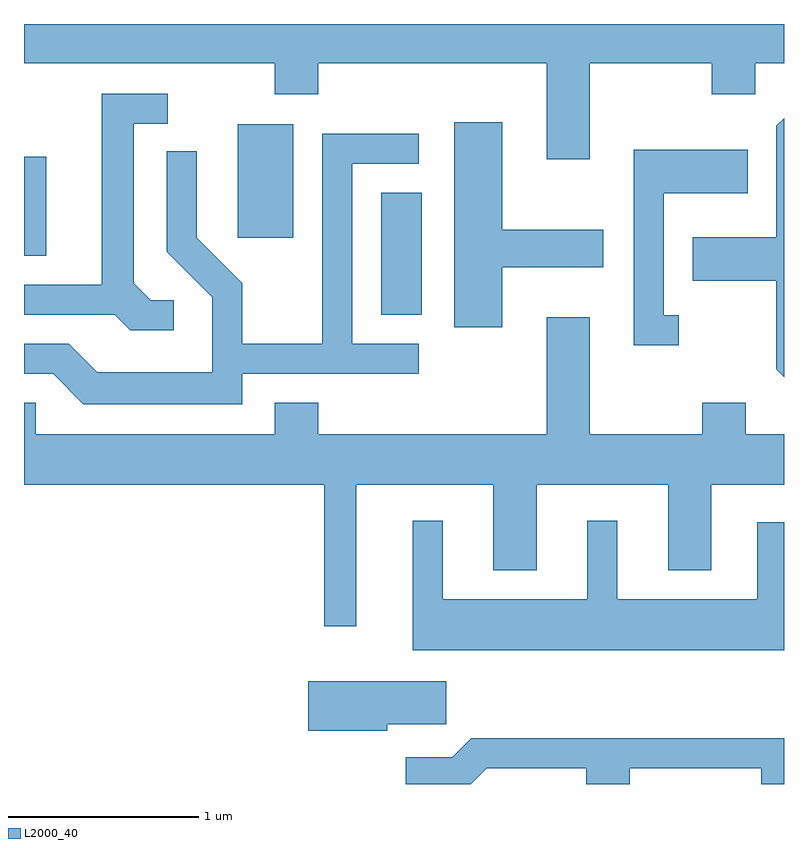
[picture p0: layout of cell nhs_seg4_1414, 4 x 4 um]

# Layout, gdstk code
import gdstk
lib = gdstk.Library(unit=1e-6, precision=1e-09)
def R(c, l, rs):  # rectangles x0, y0, x1, y1
    for r in rs: c.add(gdstk.rectangle(r[:2], r[2:], *l))
def P(c, l, *ps):  # polygons
    for p in ps: c.add(gdstk.Polygon(p, *l))
L2000_40 = (2000, 40)

nhs_seg4_1414 = lib.new_cell('nhs_seg4_1414')
R(nhs_seg4_1414, L2000_40, [(227.491,1364.451,227.704,1365.094), (225.611,1364.761,225.729,1365.284), (226.736,1364.856,227.029,1365.454)])
P(nhs_seg4_1414, L2000_40, [(228.589,1365.776),(229.231,1365.776),(229.231,1365.611),(229.459,1365.611),(229.459,1365.776),(229.611,1365.776),(229.611,1365.982),(225.611,1365.982),(225.611,1365.776),(226.931,1365.776),(226.931,1365.611),(227.159,1365.611),(227.159,1365.776),(228.361,1365.776),(228.361,1365.271),(228.589,1365.271)],
  [(226.398,1364.529),(226.277,1364.529),(226.189,1364.617),(226.189,1365.456),(226.368,1365.456),(226.368,1365.614),(226.021,1365.614),(226.021,1364.609),(225.611,1364.609),(225.611,1364.451),(226.089,1364.451),(226.169,1364.371),(226.398,1364.371)],
  [(229.611,1365.487),(229.571,1365.447),(229.571,1364.859),(229.131,1364.859),(229.131,1364.631),(229.571,1364.631),(229.571,1364.164),(229.611,1364.124)],
  [(228.129,1364.701),(228.659,1364.701),(228.659,1364.899),(228.129,1364.899),(228.129,1365.464),(227.876,1365.464),(227.876,1364.386),(228.129,1364.386)],
  [(226.759,1364.141),(227.688,1364.141),(227.688,1364.299),(227.339,1364.299),(227.339,1365.246),(227.688,1365.246),(227.688,1365.404),(227.181,1365.404),(227.181,1364.299),(226.759,1364.299),(226.759,1364.617),(226.519,1364.857),(226.519,1365.313),(226.361,1365.313),(226.361,1364.784),(226.601,1364.544),(226.601,1364.149),(225.997,1364.149),(225.847,1364.299),(225.611,1364.299),(225.611,1364.141),(225.764,1364.141),(225.924,1363.981),(226.759,1363.981)],
  [(229.058,1364.449),(228.979,1364.449),(228.979,1365.091),(229.419,1365.091),(229.419,1365.319),(228.821,1365.319),(228.821,1364.291),(229.058,1364.291)],
  [(227.359,1363.556),(228.081,1363.556),(228.081,1363.106),(228.309,1363.106),(228.309,1363.556),(229.001,1363.556),(229.001,1363.106),(229.229,1363.106),(229.229,1363.556),(229.611,1363.556),(229.611,1363.824),(229.409,1363.824),(229.409,1363.989),(229.181,1363.989),(229.181,1363.824),(228.589,1363.824),(228.589,1364.439),(228.361,1364.439),(228.361,1363.824),(227.159,1363.824),(227.159,1363.989),(226.931,1363.989),(226.931,1363.824),(225.674,1363.824),(225.674,1363.989),(225.611,1363.989),(225.611,1363.556),(227.191,1363.556),(227.191,1362.813),(227.359,1362.813)],
  [(229.611,1363.359),(229.471,1363.359),(229.471,1362.954),(228.734,1362.954),(228.734,1363.368),(228.576,1363.368),(228.576,1362.954),(227.814,1362.954),(227.814,1363.368),(227.656,1363.368),(227.656,1362.686),(229.611,1362.686)],
  [(227.524,1362.296),(227.834,1362.296),(227.834,1362.524),(227.106,1362.524),(227.106,1362.261),(227.524,1362.261)],
  [(228.047,1362.066),(228.571,1362.066),(228.571,1361.982),(228.799,1361.982),(228.799,1362.066),(229.491,1362.066),(229.491,1361.982),(229.611,1361.982),(229.611,1362.224),(227.964,1362.224),(227.864,1362.124),(227.621,1362.124),(227.621,1361.982),(227.963,1361.982)])

lib.write_gds('nhs_seg4_1414.gds')
